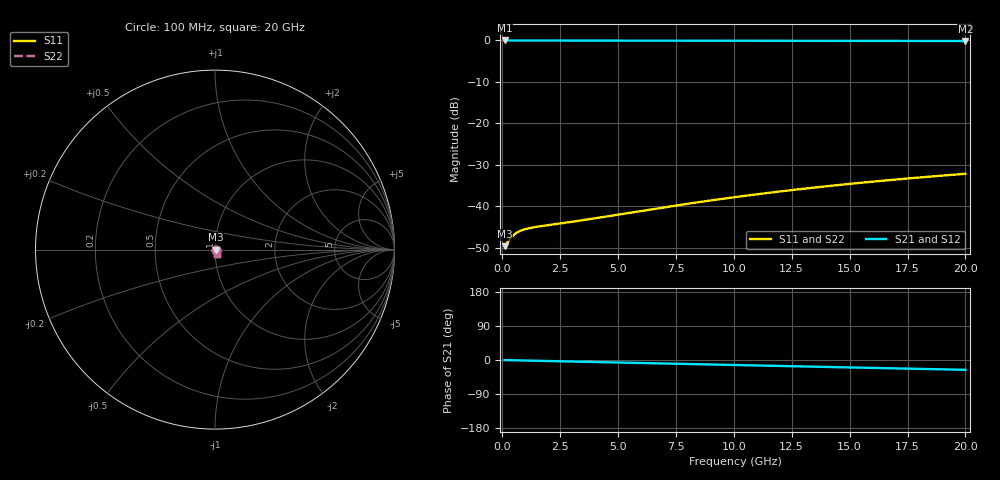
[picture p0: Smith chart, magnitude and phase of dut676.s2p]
! Touchstone file exported from HFSS 2026.1.0
!  File:  C:/ffzhzh/LocalFiles/Ansys_Project_Files/temp_train_TMRDL_676_1783010036_46388.aedt
!  Generated:  12:35:09 AM Jul  3, 2026
!  Design:  TMRDL
!  Project:  temp_train_TMRDL_676_1783010036_46388
! Variables:
!  h_bsmrdl = 2um
!  h_ox = 20um
!  h_rdl = 5um
!  h_sub = 80um
!  h_tmrdl = 3.41um
!  h_tsv = 80um
!  h_via = 3um
!  l_bsmrdl = 300um
!  l_sub = 865.08um
!  l_tmrdl = 465.08um
!  m_sub = 200um
!  pitch = 18.76um
!  r_tsv = 6um
!  s_tmrdl = 10um
!  w_bsmrdl = 18um
!  w_sub = 500um
!  w_tmrdl = 15.78um
!  x_tsv_center1 = 472.97um
!  x_tsv_center2 = 790.97um
!  x_tsv_center3 = 1271.83um
!  x_tsv_center4 = 1589.83um
!  x_tsv_center5 = 2070.69um
!  x_tsv_center6 = 2388.69um
# GHz S MA R 50.000000
! Terminal data exported
! Port[1] = TM_RDL1_1_T1
! Port[2] = TM_RDL1_1_T2
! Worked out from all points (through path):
!   200 points, 100 MHz to 20 GHz, reference 50 ohm
!   highest |S21| = -0.03 dB at 100 MHz (marker M1); lowest = -0.2 dB at 20 GHz (marker M2)
!   group delay of S21, straight-line fit = 3.59 ps
!   lowest |S11| = -49.7 dB at 100 MHz (marker M3), VSWR 1.01, Z = 50.3 + j0.0436 ohm
!   |S11| at or under -10 dB: start of sweep to end of sweep
!   |S22| runs from -49.7 to -32.2 dB; largest |S21 - S12| = 2.5e-15
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0.1  0.003287 7.6  0.9967 -0.2  0.9967 -0.2  0.003287 7.6
! Gamma 0 0 0 0
! Port Impedance 50 0 50 0
0.2  0.003565 12.8  0.9965 -0.3  0.9965 -0.3  0.003565 12.8
0.3  0.003903 15.2  0.9962 -0.5  0.9962 -0.5  0.003903 15.2
0.4  0.004226 15.7  0.9959 -0.6  0.9959 -0.6  0.004226 15.7
0.5  0.004502 15.3  0.9957 -0.7  0.9957 -0.7  0.004501 15.3
0.6  0.004727 14.4  0.9954 -0.9  0.9954 -0.9  0.004727 14.4
0.7  0.004909 13.3  0.9952 -1.0  0.9952 -1.0  0.004908 13.3
0.8  0.005057 12.2  0.9951 -1.1  0.9951 -1.1  0.005056 12.2
0.9  0.005178 11.2  0.9949 -1.3  0.9949 -1.3  0.005177 11.2
1  0.00528 10.2  0.9948 -1.4  0.9948 -1.4  0.005279 10.2
1.2  0.005444 8.4  0.9946 -1.7  0.9946 -1.7  0.005443 8.4
1.5  0.005637 6.3  0.9944 -2.1  0.9944 -2.1  0.005635 6.3
3.5  0.006783 -3.3  0.9932 -4.7  0.9932 -4.7  0.006777 -3.3
6.8  0.009489 -18.7  0.9906 -9.1  0.9906 -9.1  0.009468 -18.7
8.5  0.01118 -26.8  0.9892 -11.3  0.9892 -11.3  0.01115 -26.8
10.1  0.0129 -34.0  0.9878 -13.3  0.9878 -13.3  0.01285 -34.0
11.7  0.01469 -40.8  0.9866 -15.4  0.9866 -15.4  0.01464 -40.8
13.4  0.01666 -47.4  0.9853 -17.6  0.9853 -17.6  0.01659 -47.5
15  0.01855 -53.2  0.9842 -19.6  0.9842 -19.6  0.01846 -53.2
16.7  0.02058 -58.8  0.9831 -21.8  0.9831 -21.8  0.02048 -58.9
18.3  0.0225 -63.7  0.9821 -23.8  0.9821 -23.8  0.02239 -63.8
20  0.02455 -68.5  0.9811 -25.9  0.9811 -25.9  0.02442 -68.7
